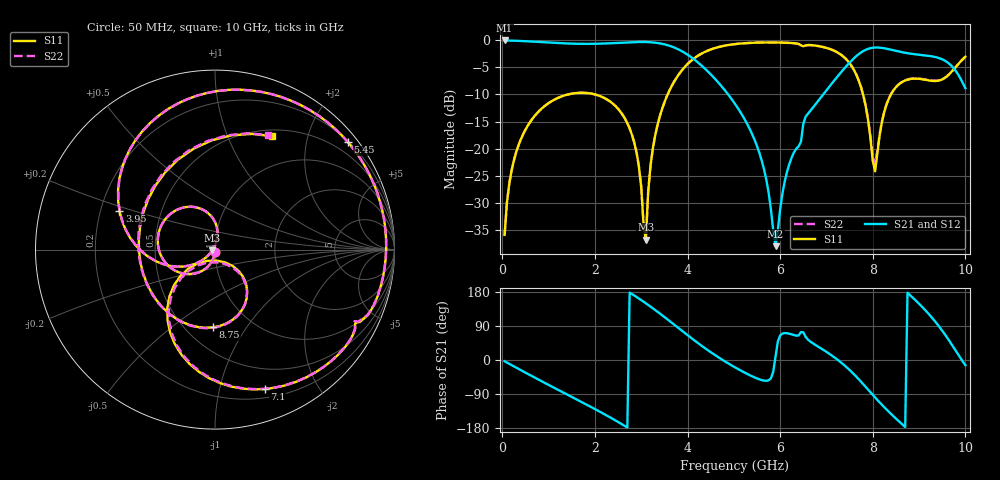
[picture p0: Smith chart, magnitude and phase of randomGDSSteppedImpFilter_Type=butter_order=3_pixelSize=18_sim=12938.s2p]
! freq	dB(S11)	phase(S11)	dB(S12)	phase(S12)
!  dB(S21)	phase(S21)	dB(S22)	phase(S22)
!S-par simulation data
#  GHz  S  DB  R 50
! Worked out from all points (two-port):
!   200 points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, 50 MHz to 10 GHz, reference 50 ohm
!   highest |S21| = -0.01 dB at 50 MHz (marker M1); lowest = -38.1 dB at 5.9 GHz (marker M2)
!   |S21| within 3 dB of the highest: start of sweep to 4.064 GHz; 7.631 GHz to 9.314 GHz (1.683 GHz wide, 19.9 % of centre)
!   lowest |S11| = -36.9 dB at 3.1 GHz (marker M3), VSWR 1.03, Z = 48.6 - j0.311 ohm
!   |S11| at or under -10 dB: start of sweep to 1.415 GHz; 2.005 GHz to 3.571 GHz (1.566 GHz wide, 56.2 % of centre); 7.789 GHz to 8.392 GHz (602.8 MHz wide, 7.45 % of centre)
!   |S22| runs from -36.9 to -0.4 dB; largest |S21 - S12| = 0
!   S11 on the Smith chart (normalised r, x): 50 MHz: 1.00, -0.03; 3.95 GHz: 0.28, +0.18; 5.45 GHz: 0.22, +2.82; 7.1 GHz: 0.28, -1.38; 8.75 GHz: 0.67, -0.71; 10 GHz: 0.58, +1.46
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0.05  -35.97 -92.7  -0.01 -3.4  -0.01 -3.4  -35.97 -92.7
0.2  -24.09 -103.6  -0.04 -13.5  -0.04 -13.5  -24.09 -103.6
0.5  -16.51 -123.8  -0.15 -33.4  -0.15 -33.4  -16.51 -123.8
1.75  -9.68 156.3  -0.64 -113.3  -0.64 -113.3  -9.68 156.2
2.75  -16.28 90.0  -0.35 178.0  -0.35 178.0  -16.28 89.8
3.1  -36.88 -167.1  -0.30 149.6  -0.30 149.6  -36.90 -167.2
3.2  -23.22 -138.9  -0.34 141.0  -0.34 141.0  -23.22 -139.1
3.4  -14.08 -151.5  -0.54 122.9  -0.54 122.9  -14.08 -151.7
3.95  -4.82 158.0  -2.36 70.2  -2.36 70.2  -4.82 157.8
5.05  -0.66 66.3  -12.05 -21.2  -12.05 -21.2  -0.66 66.2
5.45  -0.42 38.9  -18.44 -46.1  -18.44 -46.1  -0.42 38.8
5.9  -0.39 9.9  -38.06 9.6  -38.06 9.6  -0.38 9.9
6.15  -0.44 -6.0  -24.25 70.6  -24.25 70.6  -0.44 -6.0
6.7  -0.89 -40.4  -12.51 44.6  -12.51 44.6  -0.90 -39.9
7.1  -1.67 -70.4  -8.14 13.1  -8.14 13.1  -1.67 -69.8
7.6  -5.57 -118.3  -3.24 -38.4  -3.24 -38.4  -5.55 -116.9
8.05  -24.21 -82.4  -1.31 -98.9  -1.31 -98.9  -22.98 -83.6
8.35  -10.71 -52.0  -1.63 -137.0  -1.63 -137.0  -10.66 -52.6
8.75  -7.26 -91.6  -2.37 177.5  -2.37 177.5  -7.22 -90.8
9.4  -7.47 -178.1  -3.19 93.5  -3.19 93.5  -7.43 -174.8
9.7  -5.80 122.7  -4.71 41.8  -4.71 41.8  -5.83 125.9
10  -3.01 63.4  -8.85 -13.7  -8.85 -13.7  -3.06 65.2
